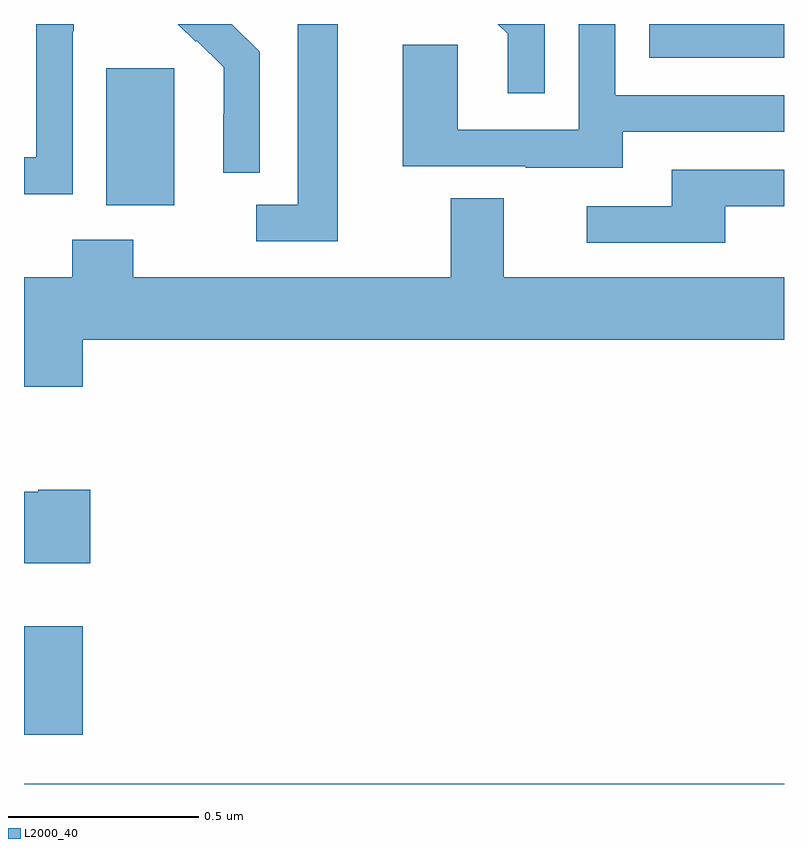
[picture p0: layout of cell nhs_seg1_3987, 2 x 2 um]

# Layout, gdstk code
import gdstk
lib = gdstk.Library(unit=1e-6, precision=1e-09)
def R(c, l, rs):  # rectangles x0, y0, x1, y1
    for r in rs: c.add(gdstk.rectangle(r[:2], r[2:], *l))
def P(c, l, *ps):  # polygons
    for p in ps: c.add(gdstk.Polygon(p, *l))
L2000_40 = (2000, 40)

nhs_seg1_3987 = lib.new_cell('nhs_seg1_3987')
R(nhs_seg1_3987, L2000_40, [(160,581.199,162,581.2), (160.217,582.722,160.396,583.083), (161.646,583.11,162,583.199)])
P(nhs_seg1_3987, L2000_40, [(160.128,583.18),(160.131,583.18),(160.131,583.199),(160.032,583.199),(160.032,582.849),(160,582.849),(160,582.751),(160.128,582.751)],
  [(160.62,583.126),(160.547,583.199),(160.405,583.199),(160.452,583.152),(160.455,583.155),(160.526,583.085),(160.526,582.962),(160.524,582.962),(160.524,582.808),(160.62,582.808)],
  [(160.825,583.199),(160.721,583.199),(160.721,582.723),(160.611,582.723),(160.611,582.627),(160.825,582.627)],
  [(161.37,583.199),(161.247,583.199),(161.273,583.173),(161.273,583.017),(161.37,583.017)],
  [(161.575,582.915),(162,582.915),(162,583.011),(161.556,583.011),(161.556,583.199),(161.46,583.199),(161.46,582.921),(161.142,582.921),(161.142,583.145),(160.997,583.145),(160.997,582.825),(161.321,582.825),(161.321,582.821),(161.575,582.821)],
  [(161.845,582.72),(162,582.72),(162,582.816),(161.705,582.816),(161.705,582.72),(161.481,582.72),(161.481,582.624),(161.845,582.624)],
  [(160.154,582.368),(162,582.368),(162,582.532),(161.263,582.532),(161.263,582.74),(161.123,582.74),(161.123,582.532),(160.287,582.532),(160.287,582.631),(160.127,582.631),(160.127,582.532),(160,582.532),(160,582.244),(160.154,582.244)],
  [(160.174,581.974),(160.038,581.974),(160.038,581.968),(160,581.968),(160,581.78),(160.174,581.78)],
  [(160.154,581.614),(160,581.614),(160,581.505),(160.001,581.505),(160.001,581.328),(160.154,581.328)])

lib.write_gds('nhs_seg1_3987.gds')
